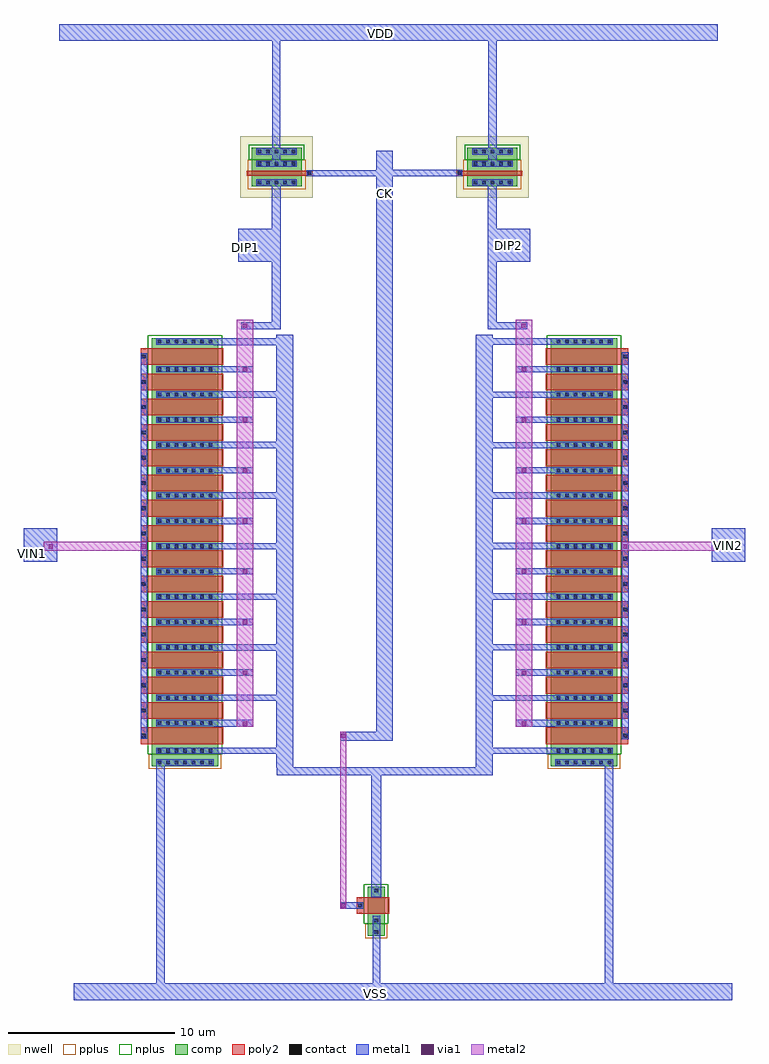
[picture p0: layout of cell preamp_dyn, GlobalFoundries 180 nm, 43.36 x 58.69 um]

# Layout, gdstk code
from math import pi, radians
import gdstk
lib = gdstk.Library(unit=1e-6, precision=5e-09)
def R(c, l, rs):  # rectangles x0, y0, x1, y1
    for r in rs: c.add(gdstk.rectangle(r[:2], r[2:], *l))
def A(c, l, x, y, w, h, nx, ny, dx, dy):  # array of equal rectangles
    R(c, l, [(x+i*dx, y+j*dy, x+i*dx+w, y+j*dy+h) for i in range(nx) for j in range(ny)])
nwell = (21, 0)
comp = (22, 0)
poly2 = (30, 0)
pplus = (31, 0)
nplus = (32, 0)
contact = (33, 0)
metal1 = (34, 0)
via1 = (35, 0)
metal2 = (36, 0)

nfet_2 = lib.new_cell('nfet$2')
R(nfet_2, comp, [(-0.42,0,0,1), (0,0,1.38,1), (1.38,0,1.8,1), (1.8,0,2.51,1)])
R(nfet_2, poly2, [(0.19,-0.3,1.19,1.3), (0.19,1.3,1.19,1.66)])
R(nfet_2, pplus, [(1.8,-0.17,2.68,1.17)])
R(nfet_2, nplus, [(-0.59,-0.24,1.8,1.24)])
R(nfet_2, contact, [(-0.32,0.39,-0.1,0.61), (1.48,0.39,1.7,0.61), (2.19,0.39,2.41,0.61), (0.58,1.37,0.8,1.59)])
R(nfet_2, metal1, [(-0.4,0.31,-0.02,0.69), (1.4,0.31,1.78,0.69), (2.11,0.31,2.49,0.69), (0.5,1.29,0.88,1.67)])

pfet = lib.new_cell('pfet')
R(pfet, nwell, [(-1.15,-0.69,2.56,3.69)])
R(pfet, comp, [(-0.46,0,0,3), (0,0,0.68,3), (0.68,0,1.14,3), (1.14,0,1.87,3)])
R(pfet, poly2, [(0.19,-0.3,0.49,3.3), (0.15,3.3,0.53,3.68)])
R(pfet, pplus, [(-0.63,-0.24,1.14,3.24)])
R(pfet, nplus, [(1.14,-0.17,2.04,3.17)])
A(pfet, contact, -0.34, 0.37, 0.22, 0.22, 1, 5, 0, 0.51)
A(pfet, contact, 0.8, 0.37, 0.22, 0.22, 1, 5, 0, 0.51)
A(pfet, contact, 1.53, 0.37, 0.22, 0.22, 1, 5, 0, 0.51)
R(pfet, contact, [(0.23,3.38,0.45,3.6)])
R(pfet, metal1, [(-0.42,0.29,-0.04,2.71), (0.72,0.29,1.1,2.71), (1.45,0.29,1.83,2.71), (0.15,3.3,0.53,3.68)])

nfet = lib.new_cell('nfet')
R(nfet, comp, [(-0.42,0,0,4), (0,0,24.18,4), (24.18,0,24.6,4), (24.6,0,25.31,4)])
A(nfet, poly2, 0.19, -0.3, 1, 4.6, 16, 1, 1.52, 0)
A(nfet, poly2, 0.19, 4.3, 1, 0.36, 16, 1, 1.52, 0)
R(nfet, pplus, [(24.6,-0.17,25.48,4.17)])
R(nfet, nplus, [(-0.59,-0.24,24.6,4.24)])
A(nfet, contact, -0.32, 0.36, 0.22, 0.22, 1, 7, 0, 0.51)
A(nfet, contact, 1.34, 0.36, 0.22, 0.22, 15, 7, 1.52, 0.51)
A(nfet, contact, 24.28, 0.36, 0.22, 0.22, 1, 7, 0, 0.51)
A(nfet, contact, 24.99, 0.36, 0.22, 0.22, 1, 7, 0, 0.51)
A(nfet, contact, 0.58, 4.37, 0.22, 0.22, 16, 1, 1.52, 0)
A(nfet, metal1, 1.26, 0.28, 0.38, 3.44, 15, 1, 1.52, 0)
A(nfet, metal1, 0.5, 4.29, 0.38, 0.38, 16, 1, 1.52, 0)
R(nfet, metal1, [(-0.4,0.28,-0.02,3.72), (24.2,0.28,24.58,3.72), (24.91,0.28,25.29,3.72)])

preamp_dyn = lib.new_cell('preamp_dyn')
R(preamp_dyn, metal1, [(-18.7,-39.38,20.91,-38.38), (-13.72,-38.38,-13.22,-24.91), (-0.72,-38.38,-0.26,-34.3), (13.25,-38.38,13.75,-24.91), (-2.67,-33.88,-1.29,-33.5), (-0.79,-33.19,-0.21,-25.88), (-6.48,-25.88,6.52,-25.39), (-6.5,-25.39,-5.5,0.61), (5.5,-25.39,6.5,0.61), (-10.28,-24.58,-6.5,-24.2), (6.5,-24.58,10.28,-24.21), (-2.67,-23.8,-0.5,-23.25), (-0.5,-23.8,0.5,11.7), (14.27,-23.69,14.69,-0.43), (-14.67,-23.68,-14.28,-0.5), (-10.28,-22.94,-7.89,-22.54), (7.89,-22.94,10.28,-22.54), (6.5,-21.4,10.28,-21.04), (-10.28,-21.39,-6.5,-21.02), (-10.28,-19.87,-7.89,-19.5), (7.89,-19.87,10.28,-19.5), (-10.28,-18.37,-6.5,-17.98), (6.5,-18.36,10.28,-17.98), (-10.28,-16.85,-7.89,-16.46), (7.89,-16.85,10.28,-16.46), (6.5,-15.32,10.28,-14.93), (-10.28,-15.31,-6.5,-14.94), (-10.28,-13.77,-7.89,-13.42), (7.89,-13.77,10.28,-13.42), (-21.68,-13.02,-19.68,-11.02), (19.68,-13.02,21.68,-11.02), (6.5,-12.28,10.28,-11.89), (-10.28,-12.26,-6.5,-11.9), (-10.28,-10.76,-7.89,-10.38), (7.89,-10.76,10.28,-10.38), (-10.28,-9.25,-6.5,-8.86), (6.5,-9.24,10.28,-8.84), (-10.28,-7.71,-7.89,-7.34), (7.89,-7.71,10.28,-7.34), (-10.28,-6.2,-6.5,-5.82), (6.5,-6.2,10.28,-5.83), (-10.28,-4.68,-7.89,-4.3), (7.89,-4.68,10.28,-4.3), (-10.28,-3.16,-6.5,-2.78), (6.5,-3.16,10.28,-2.79), (-10.28,-1.64,-7.89,-1.26), (7.89,-1.64,10.28,-1.26), (-10.28,0,-6.5,0.4), (6.5,0.02,10.28,0.4), (-8.61,0.95,-6.23,1.37), (-6.78,0.95,-6.23,9.96), (6.21,0.95,6.76,9.96), (6.21,0.95,8.59,1.37), (-8.78,5.01,-6.78,7.01), (6.76,5.01,8.76,7.01), (-4.69,10.14,-0.5,10.53), (0.5,10.15,4.69,10.55), (-6.76,10.72,-6.26,18.31), (6.24,10.72,6.74,18.31), (-19.56,18.31,20.05,19.31)])
A(preamp_dyn, via1, -8.52, -19.83, 0.26, 0.26, 1, 3, 0, 3.05)
A(preamp_dyn, via1, 8.26, -19.83, 0.26, 0.26, 1, 3, 0, 3.05)
R(preamp_dyn, via1, [(-2.61,-33.82,-2.35,-33.56), (-2.6,-23.62,-2.34,-23.36), (-8.52,-22.89,-8.26,-22.63), (8.26,-22.89,8.52,-22.63), (-20.2,-12.24,-19.94,-11.98), (-14.62,-12.24,-14.36,-11.98), (14.35,-12.24,14.61,-11.98), (19.83,-12.24,20.09,-11.98), (-8.52,-10.7,-8.26,-10.44), (8.26,-10.7,8.52,-10.44), (-8.52,-7.66,-8.26,-7.4), (8.26,-7.66,8.52,-7.4), (-8.52,-4.64,-8.26,-4.38), (8.26,-4.64,8.52,-4.38), (-8.52,-1.58,-8.26,-1.32), (-8.52,-1.58,-8.26,-1.32), (8.26,-1.58,8.52,-1.32), (8.26,-1.58,8.52,-1.32), (-8.52,1.03,-8.26,1.29), (8.22,1.03,8.48,1.29)])
R(preamp_dyn, metal2, [(-2.67,-33.9,-2.29,-23.25), (-8.89,-22.94,-7.89,1.53), (7.89,-22.94,8.89,1.53), (-20.49,-12.37,-14.29,-11.83), (14.23,-12.37,20.43,-11.83)])
preamp_dyn.add(gdstk.Reference(nfet_2, (0,-33), rotation=3*pi/2, x_reflection=True))
preamp_dyn.add(gdstk.Reference(pfet, (7.99,10), rotation=pi/2))
preamp_dyn.add(gdstk.Reference(nfet, (10,0), rotation=3*pi/2))
preamp_dyn.add(gdstk.Reference(nfet, (-10,0), rotation=3*pi/2, x_reflection=True))
preamp_dyn.add(gdstk.Reference(pfet, (-7.99,10), rotation=pi/2, x_reflection=True))
preamp_dyn.add(gdstk.Label('VSS', (-0.55,-38.97), layer=34, texttype=10))
preamp_dyn.add(gdstk.Label('DIP1', (-8.34,5.9), layer=34, texttype=10))
preamp_dyn.add(gdstk.Label('DIP2', (7.43,5.99), layer=34, texttype=10))
preamp_dyn.add(gdstk.Label('CK', (-0.02,9.1), layer=34, texttype=10))
preamp_dyn.add(gdstk.Label('VDD', (-0.22,18.71), layer=34, texttype=10))
preamp_dyn.add(gdstk.Label('VIN1', (-21.14,-12.56), layer=34, texttype=10))
preamp_dyn.add(gdstk.Label('VIN2', (20.68,-12.02), layer=34, texttype=10))

lib.write_gds('preamp_dyn.gds')
